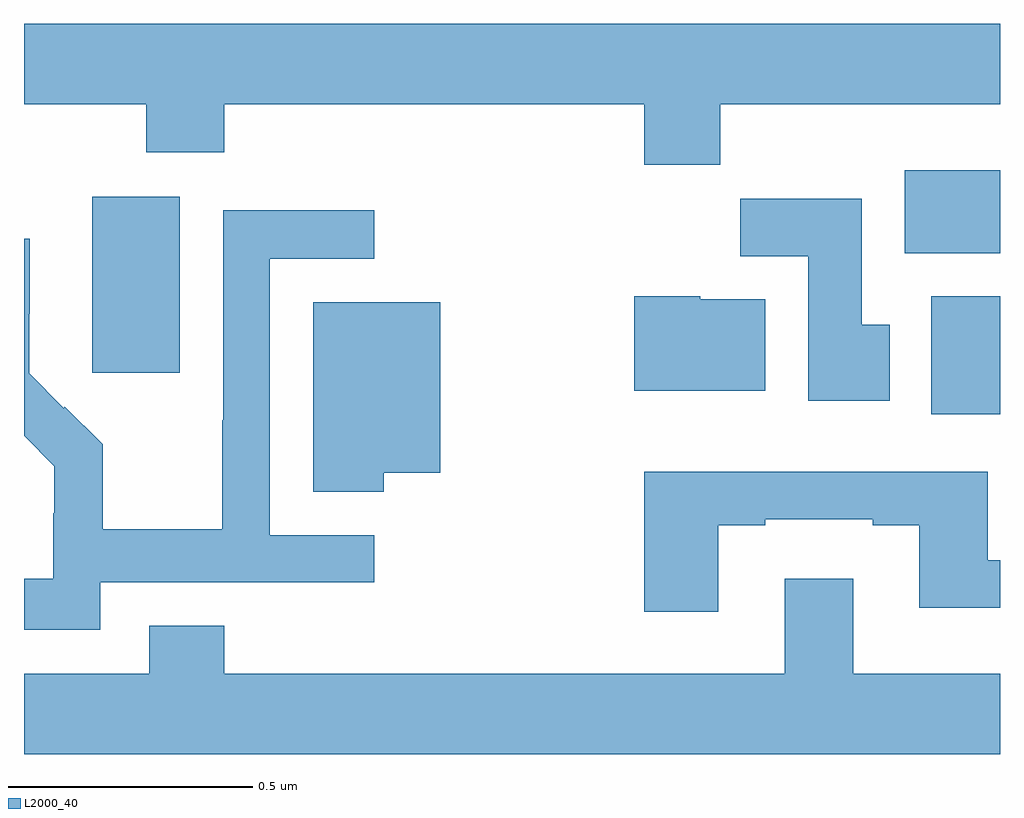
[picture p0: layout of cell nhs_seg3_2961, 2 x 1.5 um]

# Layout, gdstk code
import gdstk
lib = gdstk.Library(unit=1e-6, precision=1e-09)
def R(c, l, rs):  # rectangles x0, y0, x1, y1
    for r in rs: c.add(gdstk.rectangle(r[:2], r[2:], *l))
def P(c, l, *ps):  # polygons
    for p in ps: c.add(gdstk.Polygon(p, *l))
L2000_40 = (2000, 40)

nhs_seg3_2961 = lib.new_cell('nhs_seg3_2961')
R(nhs_seg3_2961, L2000_40, [(148.859,728.252,149,728.494), (147.14,728.337,147.319,728.698), (148.805,728.582,149,728.752)])
P(nhs_seg3_2961, L2000_40, [(148.427,728.888),(149,728.888),(149,729.052),(147,729.052),(147,728.888),(147.25,728.888),(147.25,728.789),(147.41,728.789),(147.41,728.888),(148.271,728.888),(148.271,728.764),(148.427,728.764)],
  [(148.774,728.436),(148.717,728.436),(148.717,728.694),(148.468,728.694),(148.468,728.576),(148.607,728.576),(148.607,728.28),(148.774,728.28)],
  [(147.156,727.908),(147.718,727.908),(147.718,728.004),(147.504,728.004),(147.504,728.571),(147.718,728.571),(147.718,728.67),(147.408,728.67),(147.408,728.24),(147.406,728.24),(147.406,728.017),(147.161,728.017),(147.161,728.191),(147.084,728.268),(147.081,728.265),(147.011,728.336),(147.011,728.458),(147.012,728.458),(147.012,728.612),(147,728.612),(147,728.208),(147.062,728.146),(147.062,728.049),(147.06,728.049),(147.06,727.915),(147,727.915),(147,727.811),(147.156,727.811)],
  [(148.519,728.488),(148.386,728.488),(148.386,728.494),(148.25,728.494),(148.25,728.3),(148.519,728.3)],
  [(147.737,728.132),(147.853,728.132),(147.853,728.482),(147.593,728.482),(147.593,728.093),(147.737,728.093)],
  [(148.423,728.025),(148.519,728.025),(148.519,728.037),(148.739,728.037),(148.739,728.025),(148.835,728.025),(148.835,727.856),(149,727.856),(149,727.953),(148.975,727.953),(148.975,728.134),(148.271,728.134),(148.271,727.848),(148.423,727.848)],
  [(148.559,727.915),(148.559,727.72),(147.41,727.72),(147.41,727.819),(147.257,727.819),(147.257,727.72),(147,727.72),(147,727.556),(149,727.556),(149,727.72),(148.699,727.72),(148.699,727.915)])

lib.write_gds('nhs_seg3_2961.gds')
